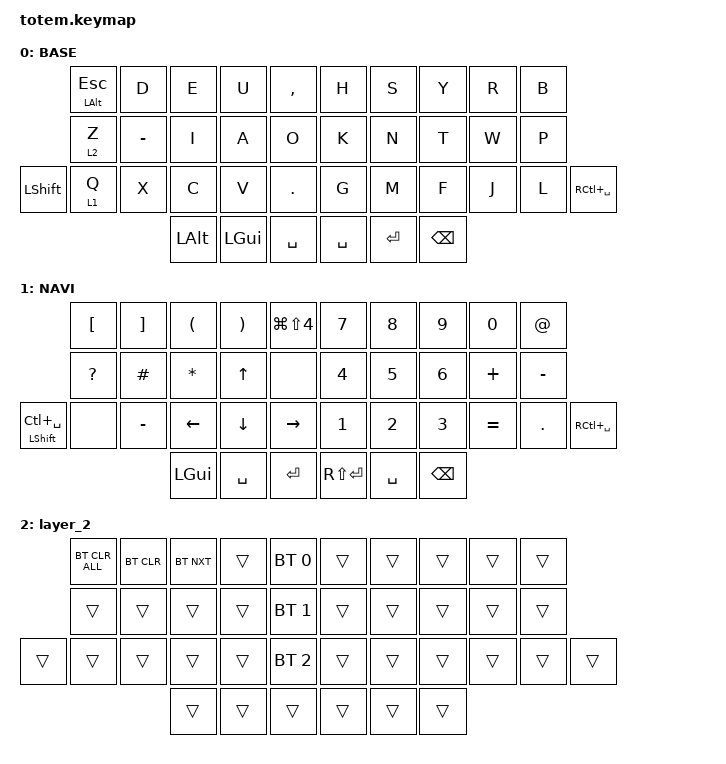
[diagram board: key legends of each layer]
//
//                                                        ▀▀▀▀▀     ▀▀▀▀▀          ▀▀█▀▀
//                                                        ▄▀▀▀▄  ▄  ▄▀▀▀▄  ▄  ▄▀▀▀▄  █  ▄▀▀▀▄
//                                                        █   █  █  █   █  █  █   █  █  █   █
//                                                         ▀▀▀   █   ▀▀▀   █   ▀▀▀   ▀   ▀▀▀
//                                                               █      ▄▄▄█▄▄▄    █   █  
//                                                               ▀      █  █  █     █▄█
//                                                             ▀▀▀▀▀    █  █  █      ▀
//                                                                      ▀  ▀  ▀
//
// ▄▄▄▄▄▄▄▄▄▄▄▄▄▄▄▄▄▄▄▄▄▄▄▄▄▄▄▄▄▄▄▄▄▄▄▄▄▄▄▄▄▄▄▄▄▄▄▄▄▄▄▄▄▄▄▄▄▄▄▄▄▄▄▄▄▄▄▄▄▄▄▄▄▄▄▄▄▄▄▄▄▄▄▄▄▄▄▄▄▄▄▄▄▄▄▄▄▄▄▄▄▄▄▄▄▄▄▄▄▄▄▄▄▄▄▄▄▄▄▄▄▄▄▄▄▄▄▄▄▄▄▄▄▄▄▄▄▄▄▄▄▄▄▄▄▄▄▄▄

#include <behaviors.dtsi>
#include <dt-bindings/zmk/bt.h>
#include <dt-bindings/zmk/keys.h>

#define BASE 0
#define NAV  1
#define SYM  2
#define ADJ  3
#define TVP1 4
#define TVP2 5

&mt {
    quick-tap-ms = <60>;
    global-quick-tap;
    flavor = "tap-preferred";
    tapping-term-ms = <170>;
};

/ {
    combos { compatible = "zmk,combos"; };

    behaviors {
        td0: td0 {
            compatible = "zmk,behavior-tap-dance";
            label = "TD0";
            #binding-cells = <0>;
            bindings = <&mt0 1 SPACE>, <&mt LCTRL ESCAPE>;

            tapping-term-ms = <170>;
        };

        mt0: mt0 {
            compatible = "zmk,behavior-hold-tap";
            label = "MT0";
            bindings = <&mo>, <&kp>;

            #binding-cells = <2>;
            tapping-term-ms = <170>;
            hold-trigger-key-positions = <33>;
        };

        mt1: mt1 {
            compatible = "zmk,behavior-hold-tap";
            label = "MT1";
            bindings = <&mo>, <&kp>;

            #binding-cells = <2>;
            tapping-term-ms = <170>;
            hold-trigger-key-positions = <36>;
        };

        td1: td1 {
            compatible = "zmk,behavior-tap-dance";
            label = "TD1";
            #binding-cells = <0>;
            bindings = <&mt1 1 SPACE>, <&mt CAPSLOCK RSHFT>;

            tapping-term-ms = <170>;
        };

        td2: td2 {
            compatible = "zmk,behavior-hold-tap";
            label = "TD2";
            bindings = <&mo>, <&kp>;

            #binding-cells = <2>;
            tapping-term-ms = <200>;
            hold-trigger-key-positions = <34>;
        };

        td3: td3 {
            compatible = "zmk,behavior-tap-dance";
            label = "TD3";
            #binding-cells = <0>;
            bindings = <&mt RS(P) P>, <&mt QUESTION SLASH>;
        };

        td4: td4 {
            compatible = "zmk,behavior-tap-dance";
            label = "TD4";
            #binding-cells = <0>;
            bindings = <&mt COLON SEMICOLON>, <&mt SQT DOUBLE_QUOTES>;

            tapping-term-ms = <200>;
        };

        td5: td5 {
            compatible = "zmk,behavior-tap-dance";
            label = "TD5";
            #binding-cells = <0>;
            bindings = <&mt LS(Q) Q>, <&mt TILDE GRAVE>;

            tapping-term-ms = <200>;
        };
    };

    keymap {
        compatible = "zmk,keymap";

        // ▄▄▄▄▄▄▄▄▄▄▄▄▄▄▄▄▄▄▄▄▄▄▄▄▄▄▄▄▄▄▄▄▄▄▄▄▄▄▄▄▄▄▄▄▄▄▄▄▄▄▄▄▄▄▄▄▄▄▄▄▄▄▄▄▄▄▄▄▄▄▄▄▄▄▄▄▄▄▄▄▄▄▄▄▄▄▄▄▄▄▄▄▄▄▄▄▄▄▄▄▄▄▄▄▄▄▄▄▄▄▄▄▄▄▄▄▄▄▄▄▄▄▄▄▄▄▄▄▄▄▄▄▄▄▄▄▄▄▄▄▄▄▄▄▄▄▄▄▄

        base_layer {
            // ┏━━━━━━━━━━━━━━━━━━━━━━━━━━━━━━━━━━━━━━━┓

            label = "BASE";

            // ┗━━━━━━━━━━━━━━━━━━━━━━━━━━━━━━━━━━━━━━━┛
            //             ┏━━━━━━━━━━━┳━━━━━━━━━━━┳━━━━━━━━━━━┳━━━━━━━━━━━┳━━━━━━━━━━━┓   ┏━━━━━━━━━━━┳━━━━━━━━━━━┳━━━━━━━━━━━┳━━━━━━━━━━━┳━━━━━━━━━━━┓
            //             ┃     Q     ┃     W     ┃     F     ┃     P     ┃     G     ┃   ┃     J     ┃     L     ┃     U     ┃     Y     ┃     ;     ┃
            //             ┣━━━━━━━━━━━╋━━━━━━━━━━━╋━━━━━━━━━━━╋━━━━━━━━━━━╋━━━━━━━━━━━┫   ┣━━━━━━━━━━━╋━━━━━━━━━━━╋━━━━━━━━━━━╋━━━━━━━━━━━╋━━━━━━━━━━━┫
            //             ┃     A     ┃     R     ┃     S     ┃     T     ┃     D     ┃   ┃     H     ┃     N     ┃     E     ┃     I     ┃     O     ┃
            // ┏━━━━━━━━━━━╋━━━━━━━━━━━╋━━━━━━━━━━━╋━━━━━━━━━━━╋━━━━━━━━━━━╋━━━━━━━━━━━┫   ┣━━━━━━━━━━━╋━━━━━━━━━━━╋━━━━━━━━━━━╋━━━━━━━━━━━╋━━━━━━━━━━━╋━━━━━━━━━━━┓
            // ┃     Q     ┃     Z     ┃     X     ┃     C     ┃     V     ┃     B     ┃   ┃     K     ┃     M     ┃     ,     ┃     .     ┃     /     ┃     \     ┃
            // ┗━━━━━━━━━━━┻━━━━━━━━━━━┻━━━━━━━━━━━╋━━━━━━━━━━━╋━━━━━━━━━━━╋━━━━━━━━━━━┫   ┣━━━━━━━━━━━╋━━━━━━━━━━━╋━━━━━━━━━━━╋━━━━━━━━━━━┻━━━━━━━━━━━┻━━━━━━━━━━━┛
            //                                     ┃    DEL    ┃    TAB    ┃    SPC    ┃   ┃   ENTER   ┃           ┃   BSPC    ┃
            //                                     ┗━━━━━━━━━━━┻━━━━━━━━━━━┻━━━━━━━━━━━┛   ┗━━━━━━━━━━━┻━━━━━━━━━━━┻━━━━━━━━━━━┛

            bindings = <
                &mt LEFT_ALT ESCAPE  &kp D      &kp E         &kp U         &kp COMMA   &kp H      &kp S    &kp Y     &kp R  &kp B
                &lt 2 Z              &kp MINUS  &kp I         &kp A         &kp O       &kp K      &kp N    &kp T     &kp W  &kp P
&kp LEFT_SHIFT  &lt 1 Q              &kp X      &kp C         &kp V         &kp PERIOD  &kp G      &kp M    &kp F     &kp J  &kp L  &kp RC(SPACE)
                                                &kp LEFT_ALT  &kp LEFT_GUI  &kp SPACE   &kp SPACE  &kp RET  &kp BSPC
            >;
        };

        // ▄▄▄▄▄▄▄▄▄▄▄▄▄▄▄▄▄▄▄▄▄▄▄▄▄▄▄▄▄▄▄▄▄▄▄▄▄▄▄▄▄▄▄▄▄▄▄▄▄▄▄▄▄▄▄▄▄▄▄▄▄▄▄▄▄▄▄▄▄▄▄▄▄▄▄▄▄▄▄▄▄▄▄▄▄▄▄▄▄▄▄▄▄▄▄▄▄▄▄▄▄▄▄▄▄▄▄▄▄▄▄▄▄▄▄▄▄▄▄▄▄▄▄▄▄▄▄▄▄▄▄▄▄▄▄▄▄▄▄▄▄▄▄▄▄▄▄▄▄

        nav_layer {
            // ┏━━━━━━━━━━━━━━━━━━━━━━━━━━━━━━━━━━━━━━━┓

            label = "NAVI";

            // ┗━━━━━━━━━━━━━━━━━━━━━━━━━━━━━━━━━━━━━━━┛
            //             ┏━━━━━━━━━━━┳━━━━━━━━━━━┳━━━━━━━━━━━┳━━━━━━━━━━━┳━━━━━━━━━━━┓   ┏━━━━━━━━━━━┳━━━━━━━━━━━┳━━━━━━━━━━━┳━━━━━━━━━━━┳━━━━━━━━━━━┓
            //             ┃           ┃           ┃     UP    ┃           ┃     {     ┃   ┃     }     ┃     7     ┃     8     ┃     9     ┃     +     ┃
            //             ┣━━━━━━━━━━━╋━━━━━━━━━━━╋━━━━━━━━━━━╋━━━━━━━━━━━╋━━━━━━━━━━━┫   ┣━━━━━━━━━━━╋━━━━━━━━━━━╋━━━━━━━━━━━╋━━━━━━━━━━━╋━━━━━━━━━━━┫
            //             ┃   SHIFT   ┃   LEFT    ┃    DOWN   ┃   RIGHT   ┃     [     ┃   ┃     ]     ┃     4     ┃     5     ┃     6     ┃     -     ┃
            // ┏━━━━━━━━━━━╋━━━━━━━━━━━╋━━━━━━━━━━━╋━━━━━━━━━━━╋━━━━━━━━━━━╋━━━━━━━━━━━┫   ┣━━━━━━━━━━━╋━━━━━━━━━━━╋━━━━━━━━━━━╋━━━━━━━━━━━╋━━━━━━━━━━━╋━━━━━━━━━━━┓
            // ┃           ┃           ┃   P UP    ┃  C LOCK   ┃  P DOWN   ┃     (     ┃   ┃     )     ┃     1     ┃     2     ┃     3     ┃     *     ┃           ┃
            // ┗━━━━━━━━━━━┻━━━━━━━━━━━┻━━━━━━━━━━━╋━━━━━━━━━━━╋━━━━━━━━━━━╋━━━━━━━━━━━┫   ┣━━━━━━━━━━━╋━━━━━━━━━━━╋━━━━━━━━━━━╋━━━━━━━━━━━┻━━━━━━━━━━━┻━━━━━━━━━━━┛
            //                                     ┃           ┃    TAB    ┃    SPC    ┃   ┃    DEL    ┃     0     ┃           ┃
            //                                     ┗━━━━━━━━━━━┻━━━━━━━━━━━┻━━━━━━━━━━━┛   ┗━━━━━━━━━━━┻━━━━━━━━━━━┻━━━━━━━━━━━┛

            bindings = <
                      &kp LEFT_BRACKET  &kp RIGHT_BRACKET  &kp LEFT_PARENTHESIS  &kp RIGHT_PARENTHESIS  &kp LG(LS(NUMBER_4))  &kp N7        &kp N8        &kp N9        &kp N0     &kp AT_SIGN
                      &kp QUESTION      &kp HASH           &kp ASTRK             &kp UP_ARROW           &none                 &kp NUMBER_4  &kp N5        &kp NUMBER_6  &kp PLUS   &kp MINUS
&mt LSHIFT LC(SPACE)  &none             &kp MINUS          &kp LEFT              &kp DOWN               &kp RIGHT_ARROW       &kp NUMBER_1  &kp NUMBER_2  &kp NUMBER_3  &kp EQUAL  &kp PERIOD   &kp RC(SPACE)
                                                           &kp LGUI              &kp SPACE              &kp RET               &kp RS(RET)   &kp SPACE     &kp BSPC
            >;
        };

        layer_2 {
            bindings = <
        &bt BT_CLR_ALL  &bt BT_CLR  &bt BT_NXT  &trans  &bt BT_SEL 0  &trans  &trans  &trans  &trans  &trans
        &trans          &trans      &trans      &trans  &bt BT_SEL 1  &trans  &trans  &trans  &trans  &trans
&trans  &trans          &trans      &trans      &trans  &bt BT_SEL 2  &trans  &trans  &trans  &trans  &trans  &trans
                                    &trans      &trans  &trans        &trans  &trans  &trans
            >;
        };

        // ▄▄▄▄▄▄▄▄▄▄▄▄▄▄▄▄▄▄▄▄▄▄▄▄▄▄▄▄▄▄▄▄▄▄▄▄▄▄▄▄▄▄▄▄▄▄▄▄▄▄▄▄▄▄▄▄▄▄▄▄▄▄▄▄▄▄▄▄▄▄▄▄▄▄▄▄▄▄▄▄▄▄▄▄▄▄▄▄▄▄▄▄▄▄▄▄▄▄▄▄▄▄▄▄▄▄▄▄▄▄▄▄▄▄▄▄▄▄▄▄▄▄▄▄▄▄▄▄▄▄▄▄▄▄▄▄▄▄▄▄▄▄▄▄▄▄▄▄▄
        // ▄▄▄▄▄▄▄▄▄▄▄▄▄▄▄▄▄▄▄▄▄▄▄▄▄▄▄▄▄▄▄▄▄▄▄▄▄▄▄▄▄▄▄▄▄▄▄▄▄▄▄▄▄▄▄▄▄▄▄▄▄▄▄▄▄▄▄▄▄▄▄▄▄▄▄▄▄▄▄▄▄▄▄▄▄▄▄▄▄▄▄▄▄▄▄▄▄▄▄▄▄▄▄▄▄▄▄▄▄▄▄▄▄▄▄▄▄▄▄▄▄▄▄▄▄▄▄▄▄▄▄▄▄▄▄▄▄▄▄▄▄▄▄▄▄▄▄▄▄
        // ▄▄▄▄▄▄▄▄▄▄▄▄▄▄▄▄▄▄▄▄▄▄▄▄▄▄▄▄▄▄▄▄▄▄▄▄▄▄▄▄▄▄▄▄▄▄▄▄▄▄▄▄▄▄▄▄▄▄▄▄▄▄▄▄▄▄▄▄▄▄▄▄▄▄▄▄▄▄▄▄▄▄▄▄▄▄▄▄▄▄▄▄▄▄▄▄▄▄▄▄▄▄▄▄▄▄▄▄▄▄▄▄▄▄▄▄▄▄▄▄▄▄▄▄▄▄▄▄▄▄▄▄▄▄▄▄▄▄▄▄▄▄▄▄▄▄▄▄▄
        // ▄▄▄▄▄▄▄▄▄▄▄▄▄▄▄▄▄▄▄▄▄▄▄▄▄▄▄▄▄▄▄▄▄▄▄▄▄▄▄▄▄▄▄▄▄▄▄▄▄▄▄▄▄▄▄▄▄▄▄▄▄▄▄▄▄▄▄▄▄▄▄▄▄▄▄▄▄▄▄▄▄▄▄▄▄▄▄▄▄▄▄▄▄▄▄▄▄▄▄▄▄▄▄▄▄▄▄▄▄▄▄▄▄▄▄▄▄▄▄▄▄▄▄▄▄▄▄▄▄▄▄▄▄▄▄▄▄▄▄▄▄▄▄▄▄▄▄▄▄
    };
};
